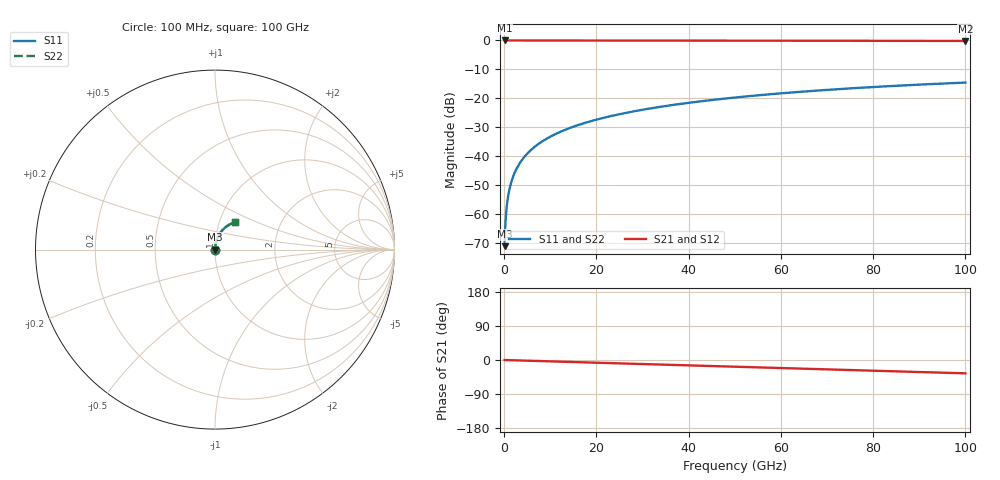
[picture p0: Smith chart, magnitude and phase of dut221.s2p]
! Touchstone file exported from HFSS 2026.1.0
!  File:  C:/ffzhzh/LocalFiles/Ansys_Project_Files/temp_train_TSV_221_1783507835_31944.aedt
!  Generated:  06:51:52 PM Jul  8, 2026
!  Design:  TSV
!  Project:  temp_train_TSV_221_1783507835_31944
! Variables:
!  h_bsmrdl = 2um
!  h_ox = 20um
!  h_rdl = 5um
!  h_sub = 60.83um
!  h_tmrdl = 5um
!  h_tsv = 60.83um
!  h_via = 3um
!  l_bsmrdl = 300um
!  l_sub = 417.46um
!  l_tmrdl = 200um
!  m_sub = 200um
!  pitch = 54.32um
!  r_tsv = 8.73um
!  s_tmrdl = 10um
!  w_bsmrdl = 18um
!  w_sub = 500um
!  w_tmrdl = 12um
!  x_tsv_center1 = 206um
!  x_tsv_center2 = 524um
!  x_tsv_center3 = 736um
!  x_tsv_center4 = 1054um
!  x_tsv_center5 = 1266um
!  x_tsv_center6 = 1584um
# GHz S MA R 50.000000
! Terminal data exported
! Port[1] = TSV1_1_T1
! Port[2] = TSV1_1_T2
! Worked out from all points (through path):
!   1000 points, 100 MHz to 100 GHz, reference 50 ohm
!   highest |S21| = 0.00 dB at 100 MHz (marker M1); lowest = -0.2 dB at 100 GHz (marker M2)
!   group delay of S21, straight-line fit = 977 fs
!   lowest |S11| = -71.1 dB at 100 MHz (marker M3), VSWR 1.00, Z = 50 + j0.0247 ohm
!   |S11| at or under -10 dB: start of sweep to end of sweep
!   |S22| runs from -71.1 to -14.6 dB; largest |S21 - S12| = 2.7e-15
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0.1  0.0002771 63.2  0.9999 -0.0  0.9999 -0.0  0.0002771 63.2
! Gamma 0 0 0 0
! Port Impedance 50 0 50 0
0.3  0.0007463 78.4  0.9999 -0.1  0.9999 -0.1  0.0007463 78.4
0.7  0.001664 82.6  0.9998 -0.3  0.9998 -0.3  0.001664 82.6
0.8  0.001888 83.0  0.9998 -0.3  0.9998 -0.3  0.001888 83.0
1  0.002335 83.7  0.9998 -0.4  0.9998 -0.4  0.002335 83.7
1.3  0.003002 84.3  0.9997 -0.5  0.9997 -0.5  0.003002 84.3
1.7  0.003885 84.8  0.9997 -0.6  0.9997 -0.6  0.003885 84.8
2.3  0.005199 85.1  0.9996 -0.8  0.9996 -0.8  0.005199 85.1
3  0.006718 85.3  0.9996 -1.1  0.9996 -1.1  0.006718 85.3
3.8  0.008442 85.4  0.9995 -1.4  0.9995 -1.4  0.008442 85.4
4.8  0.01059 85.4  0.9994 -1.7  0.9994 -1.7  0.01059 85.4
6  0.01316 85.3  0.9993 -2.2  0.9993 -2.2  0.01316 85.3
8.8  0.01913 84.7  0.9991 -3.2  0.9991 -3.2  0.01913 84.7
12.4  0.02675 83.7  0.9988 -4.4  0.9988 -4.4  0.02675 83.7
16.8  0.03601 82.4  0.9983 -6.0  0.9983 -6.0  0.03601 82.4
24.2  0.05142 80.0  0.9975 -8.6  0.9975 -8.6  0.05142 80.0
33.4  0.07025 76.9  0.9961 -11.9  0.9961 -11.9  0.07025 76.9
41.2  0.08585 74.3  0.9947 -14.7  0.9947 -14.7  0.08585 74.3
50.1  0.1032 71.3  0.9929 -17.8  0.9929 -17.8  0.1032 71.3
66.7  0.1338 65.6  0.989 -23.6  0.989 -23.6  0.1338 65.6
83.4  0.162 59.8  0.9846 -29.4  0.9846 -29.4  0.162 59.8
100  0.1868 54.2  0.9799 -35.2  0.9799 -35.2  0.1868 54.2
